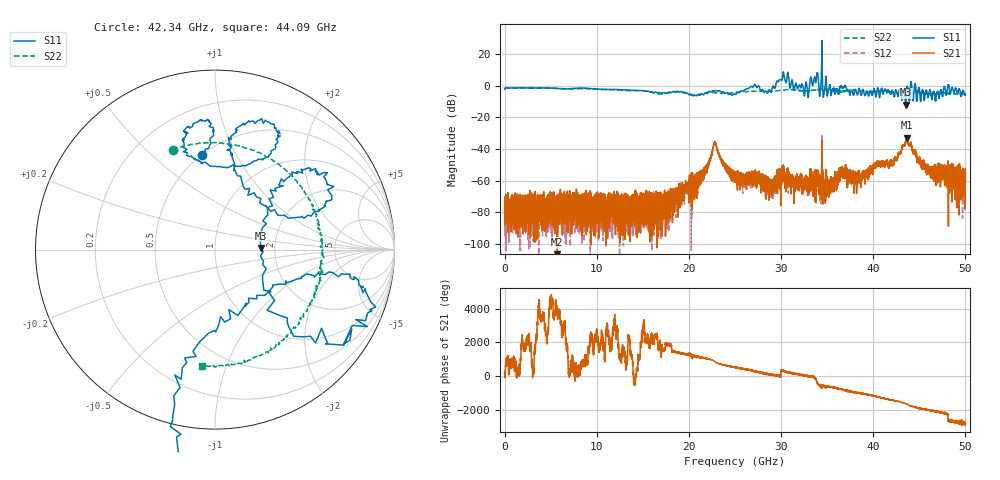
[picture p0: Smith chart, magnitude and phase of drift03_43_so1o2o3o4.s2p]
!Created with skrf (http://scikit-rf.org).
# Hz S RI R 50.0
!freq ReS11 ImS11 ReS21 ImS21 ReS12 ImS12 ReS22 ImS22
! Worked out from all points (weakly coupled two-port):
!   10000 points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, 5.3 MHz to 50 GHz, reference 50 ohm
!   highest |S21| = -32.74 dB at 43.64 GHz (marker M1); lowest = -112.9 dB at 5.69 GHz (marker M2)
!   lowest |S11| = -11.9 dB at 43.52 GHz (marker M3), VSWR 1.68, Z = 84 + j1.64 ohm
!   |S11| at or under -10 dB: 43.48413 GHz to 43.48781 GHz (3.686 MHz wide, 0.00848 % of centre); 43.49082 GHz to 43.55505 GHz (64.23 MHz wide, 0.148 % of centre); 45.13998 GHz to 45.14006 GHz (80.8 kHz wide, 0.000179 % of centre)
!   |S22| runs from -5.9 to -1.3 dB; largest |S21 - S12| = 0.0085
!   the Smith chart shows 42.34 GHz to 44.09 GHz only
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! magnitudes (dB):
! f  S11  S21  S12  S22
! 5.3 MHz  -2.1  -73.1  -78.5  -2.1
! 5.69 GHz  -1.7  -112.9  -76.2  -1.7
! 8.34 GHz  -1.5  -88.6  -75.5  -1.9
! 16.67 GHz  -4.4  -70.4  -78.9  -5.2
! 21.18 GHz  -6.0  -58.8  -57.9  -5.3
! 22.82 GHz  -3.4  -35.6  -35.3  -4.4
! 25.01 GHz  -5.5  -59.9  -58.7  -4.3
! 27.02 GHz  -0.3  -58.2  -60.2  -3.5
! 28.72 GHz  -2.5  -60.9  -65.1  -3.5
! 30.14 GHz  4.4  -58.4  -55.7  -2.8
! 32.74 GHz  2.0  -56.8  -61.1  -3.3
! 33.34 GHz  2.5  -57.5  -56.6  -2.9
! 33.82 GHz  4.0  -74.0  -60.4  -2.5
! 34.97 GHz  -4.3  -61.1  -62.2  -2.4
! 36.51 GHz  -0.4  -54.9  -55.7  -3.7
! 38.43 GHz  -1.9  -54.5  -55.6  -3.0
! 41.67 GHz  -3.0  -49.4  -49.6  -3.6
! 43.52 GHz  -11.9  -35.6  -35.5  -4.3
! 43.64 GHz  -2.1  -32.7  -33.4  -4.0
! 46.26 GHz  -4.8  -51.7  -54.2  -5.5
! 48.1 GHz  -0.1  -52.4  -56.2  -4.8
! 50 GHz  -5.2  -60.9  -66.9  -4.9
